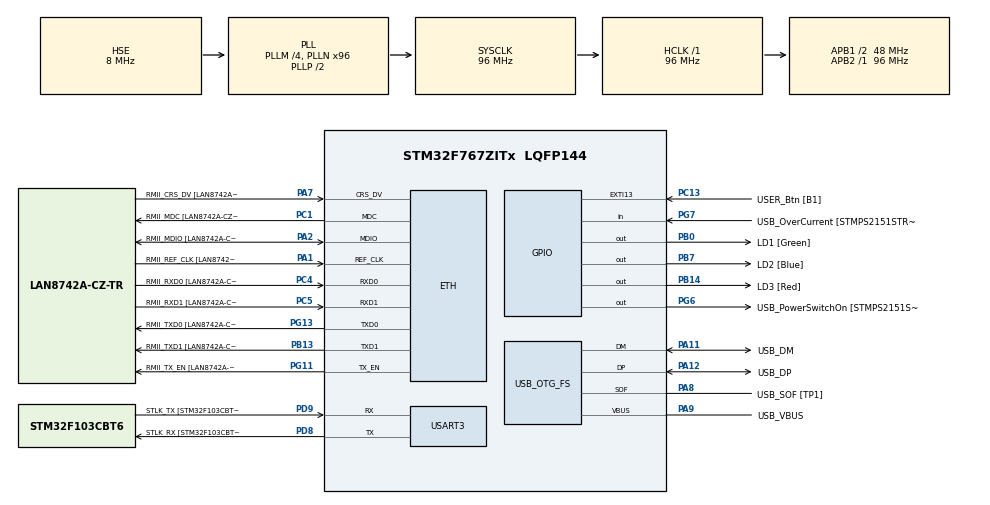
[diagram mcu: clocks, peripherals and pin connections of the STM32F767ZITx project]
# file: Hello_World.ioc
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CORTEX_M7.default_mode_Activation=1
Dma.Request0=USART3_TX
Dma.USART3_TX.0.Direction=DMA_MEMORY_TO_PERIPH
Dma.USART3_TX.0.FIFOMode=DMA_FIFOMODE_DISABLE
Dma.USART3_TX.0.Instance=DMA1_Stream3
Dma.USART3_TX.0.MemDataAlignment=DMA_MDATAALIGN_BYTE
Dma.USART3_TX.0.MemInc=DMA_MINC_ENABLE
Dma.USART3_TX.0.Mode=DMA_NORMAL
Dma.USART3_TX.0.PeriphDataAlignment=DMA_PDATAALIGN_BYTE
Dma.USART3_TX.0.PeriphInc=DMA_PINC_DISABLE
Dma.USART3_TX.0.Priority=DMA_PRIORITY_LOW
ETH.MediaInterface=HAL_ETH_RMII_MODE
ETH.PHY_Name=LAN8742A_PHY_ADDRESS
ETH.PHY_Value=0
ETH.PhyAddress=0
LWIP.BSP.number=1
LWIP.CHECKSUM_BY_HARDWARE=1
LWIP.CHECKSUM_CHECK_ICMP=0
LWIP.CHECKSUM_CHECK_ICMP6=0
LWIP.CHECKSUM_CHECK_IP=0
LWIP.CHECKSUM_CHECK_TCP=0
LWIP.CHECKSUM_CHECK_UDP=0
LWIP.CHECKSUM_GEN_ICMP=0
LWIP.CHECKSUM_GEN_ICMP6=0
LWIP.CHECKSUM_GEN_IP=0
LWIP.CHECKSUM_GEN_TCP=0
LWIP.CHECKSUM_GEN_UDP=0
LWIP.GATEWAY_ADDRESS=192.168.001.001
LWIP.IP_ADDRESS=192.168.001.090
LWIP.LWIP_CHECKSUM_CTRL_PER_NETIF=0
LWIP.LWIP_CHECKSUM_ON_COPY=0
LWIP.LWIP_DHCP=0
LWIP.LWIP_RAW=1
LWIP.NETMASK_ADDRESS=255.255.255.000
LWIP.Version=v2.1.2_Cube
LWIP0.BSP.STBoard=false
LWIP0.BSP.api=BSP_COMPONENT_DRIVER
LWIP0.BSP.component=LAN8742
LWIP0.BSP.instance=LAN8742
LWIP0.BSP.name=Driver_PHY
LWIP0.BSP.semaphore=S_LAN8742
LWIP0.BSP.solution=LAN8742
Mcu.Family=STM32F7
Mcu.Name=STM32F767ZITx
Mcu.Package=LQFP144
NVIC.DMA1_Stream3_IRQn=true\:0\:0\:false\:false\:true\:false\:true\:true
NVIC.PriorityGroup=NVIC_PRIORITYGROUP_4
NVIC.USART3_IRQn=true\:0\:0\:false\:false\:true\:true\:true\:true
PA1.GPIO_Label=RMII_REF_CLK [LAN8742A-CZ-TR_REFCLK0]
PA1.Mode=RMII
PA1.Signal=ETH_REF_CLK
PA10.GPIO_Label=USB_ID
PA10.Signal=USB_OTG_FS_ID
PA11.GPIO_Label=USB_DM
PA11.Mode=Device_Only
PA11.Signal=USB_OTG_FS_DM
PA12.GPIO_Label=USB_DP
PA12.Mode=Device_Only
PA12.Signal=USB_OTG_FS_DP
PA13.GPIO_Label=TMS
PA13.Mode=Serial_Wire
PA13.Signal=SYS_JTMS-SWDIO
PA14.GPIO_Label=TCK
PA14.Mode=Serial_Wire
PA14.Signal=SYS_JTCK-SWCLK
PA2.GPIO_Label=RMII_MDIO [LAN8742A-CZ-TR_MDIO]
PA2.Mode=RMII
PA2.Signal=ETH_MDIO
PA7.GPIO_Label=RMII_CRS_DV [LAN8742A-CZ-TR_CRS_DV]
PA7.Mode=RMII
PA7.Signal=ETH_CRS_DV
PA8.GPIO_Label=USB_SOF [TP1]
PA8.Mode=Activate_SOF_FS
PA8.Signal=USB_OTG_FS_SOF
PA9.GPIO_Label=USB_VBUS
PA9.Mode=Activate_VBUS
PA9.Signal=USB_OTG_FS_VBUS
PB0.GPIO_Label=LD1 [Green]
PB0.Signal=GPIO_Output
PB13.GPIO_Label=RMII_TXD1 [LAN8742A-CZ-TR_TXD1]
PB13.Mode=RMII
PB13.Signal=ETH_TXD1
PB14.GPIO_Label=LD3 [Red]
PB14.Signal=GPIO_Output
PB3.GPIO_Label=SWO
PB3.Signal=SYS_JTDO-SWO
PB7.GPIO_Label=LD2 [Blue]
PB7.Signal=GPIO_Output
PC1.GPIO_Label=RMII_MDC [LAN8742A-CZ-TR_MDC]
PC1.Mode=RMII
PC1.Signal=ETH_MDC
PC13.GPIO_Label=USER_Btn [B1]
PC13.Signal=GPXTI13
PC14/OSC32_IN.Mode=LSE-External-Oscillator
PC14/OSC32_IN.Signal=RCC_OSC32_IN
PC15/OSC32_OUT.Mode=LSE-External-Oscillator
PC15/OSC32_OUT.Signal=RCC_OSC32_OUT
PC4.GPIO_Label=RMII_RXD0 [LAN8742A-CZ-TR_RXD0]
PC4.Mode=RMII
PC4.Signal=ETH_RXD0
PC5.GPIO_Label=RMII_RXD1 [LAN8742A-CZ-TR_RXD1]
PC5.Mode=RMII
PC5.Signal=ETH_RXD1
PD8.GPIO_Label=STLK_RX [STM32F103CBT6_PA3]
PD8.Mode=Asynchronous
PD8.Signal=USART3_TX
PD9.GPIO_Label=STLK_TX [STM32F103CBT6_PA2]
PD9.Mode=Asynchronous
PD9.Signal=USART3_RX
PG11.GPIO_Label=RMII_TX_EN [LAN8742A-CZ-TR_TXEN]
PG11.Mode=RMII
PG11.Signal=ETH_TX_EN
PG13.GPIO_Label=RMII_TXD0 [LAN8742A-CZ-TR_TXD0]
PG13.Mode=RMII
PG13.Signal=ETH_TXD0
PG6.GPIO_Label=USB_PowerSwitchOn [STMPS2151STR_EN]
PG6.Signal=GPIO_Output
PG7.GPIO_Label=USB_OverCurrent [STMPS2151STR_FAULT]
PG7.Signal=GPIO_Input
PH0/OSC_IN.GPIO_Label=MCO [STM32F103CBT6_PA8]
PH0/OSC_IN.Mode=HSE-External-Clock-Source
PH0/OSC_IN.Signal=RCC_OSC_IN
PH1/OSC_OUT.Mode=HSE-External-Clock-Source
PH1/OSC_OUT.Signal=RCC_OSC_OUT
ProjectManager.HeapSize=0x200
ProjectManager.StackSize=0x400
ProjectManager.TargetToolchain=STM32CubeIDE
RCC.48MHZClocksFreq_Value=24000000
RCC.AHBFreq_Value=96000000
RCC.APB1CLKDivider=RCC_HCLK_DIV2
RCC.APB1Freq_Value=48000000
RCC.APB1TimFreq_Value=96000000
RCC.APB2Freq_Value=96000000
RCC.APB2TimFreq_Value=96000000
RCC.CortexFreq_Value=96000000
RCC.HCLKFreq_Value=96000000
RCC.HSE_VALUE=8000000
RCC.HSI_VALUE=16000000
RCC.PLLM=4
RCC.PLLMUL=RCC_PLL_MUL9
RCC.PLLN=96
RCC.PLLQ=4
RCC.PRESCALERUSB=RCC_USBCLKSOURCE_PLL_DIV1_5
RCC.SYSCLKFreq_VALUE=96000000
RCC.SYSCLKSource=RCC_SYSCLKSOURCE_PLLCLK
RCC.SYSCLKSourceVirtual=RCC_SYSCLKSOURCE_PLLCLK
RCC.USBFreq_Value=48000000
RCC.VCOOutputFreq_Value=192000000
USART3.VirtualMode-Asynchronous=VM_ASYNC
USB_OTG_FS.VirtualMode=Device_Only
VP_LWIP_VS_Enabled.Mode=Enabled
board=NUCLEO-F767ZI

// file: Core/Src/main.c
/* USER CODE BEGIN Header */
/**
  ******************************************************************************
  * @file           : main.c
  * @brief          : Main program body
  ******************************************************************************
  * @attention
  *
  * Copyright (c) 2026 STMicroelectronics.
  * All rights reserved.
  *
  * This software is licensed under terms that can be found in the LICENSE file
  * in the root directory of this software component.
  * If no LICENSE file comes with this software, it is provided AS-IS.
  *
  ******************************************************************************
  */
/* USER CODE END Header */
#include "main.h"
#include "lwip.h"

/* USER CODE BEGIN Includes */
#include "ping.h"
/* USER CODE END Includes */

UART_HandleTypeDef huart3;
DMA_HandleTypeDef hdma_usart3_tx;

PCD_HandleTypeDef hpcd_USB_OTG_FS;

void SystemClock_Config(void);
static void MPU_Config(void);
static void MX_GPIO_Init(void);
static void MX_DMA_Init(void);
static void MX_USART3_UART_Init(void);
static void MX_USB_OTG_FS_PCD_Init(void);

/* USER CODE BEGIN 0 */
/* One-byte receive buffer for the interrupt-driven UART RX. */
uint8_t rx_buffer[2];
uint8_t *rx_message = &rx_buffer[0];

/* Command decoded from the UART: set in the RX interrupt, handled in the main loop. */
typedef enum command{
	flag_Idle,
	flag_ON,
	flag_OFF,
	flag_ERROR
} command;

/* it should be declared volatile: "volatile command LED_command = flag_Idle;". Otherwise the
 * compiler may keep it in a register and the main loop could miss the change. */
volatile command LED_command = flag_Idle;
// volatile bool flag_ON,flag_ERROR = false;
/* USER CODE END 0 */

int main(void)
{

  /* MPU Configuration--------------------------------------------------------*/
  MPU_Config();

  /* MCU Configuration--------------------------------------------------------*/

  /* Reset of all peripherals, Initializes the Flash interface and the Systick. */
  HAL_Init();

  /* Configure the system clock */
  SystemClock_Config();

  /* Initialize all configured peripherals */
  MX_GPIO_Init();
  MX_DMA_Init();
  MX_USART3_UART_Init();
  MX_USB_OTG_FS_PCD_Init();
  MX_LWIP_Init();
  /* USER CODE BEGIN 2 */
  /* Must come after MX_LWIP_Init(): it creates a PCB, which needs lwIP running. */
  ping_init();
  /* USER CODE END 2 */

  /* Infinite loop */
  /* USER CODE BEGIN WHILE */
  /* Texts sent back to the PC app over UART3. */
   const uint8_t message_dma[] = "DMA LED1 is OFF\r\n";
   const uint8_t message_OFF[] = "LED is OFF\r\n";
   const uint8_t message_Flag_ON[] = "LED1 is ON\r\n";
   const uint8_t message_Flag_OFF[] = "LED1 is OFF\r\n";
   const uint8_t message_Flag_ERROR[] = "Wrong command!\r\n";

   HAL_StatusTypeDef status;

   /* Arm the first 1-byte UART receive. The RX-complete callback re-arms it after each byte. */
   status = HAL_UART_Receive_IT(&huart3,rx_message, 1);
       if (status == HAL_ERROR) {
   		  Error_Handler();
       }
  while (1)
  {
    /* USER CODE END WHILE */
    /* Keep these two non-blocking and calling often: MX_LWIP_Process() moves received
    *  frames into the stack (and therefore calls ping_recv()) and runs lwIP's timers;
    *  ping_poll() sends the periodic ping and reports timeouts. Long blocking calls
    *  in this loop would delay both. */
    /* USER CODE BEGIN 3 */
	  MX_LWIP_Process();
    ping_poll();

    /* Handle the command decoded by the UART interrupt. Doing the work here and not
     * in the interrupt keeps the interrupt short and never calls lwIP from it. */
    if(LED_command == flag_ON){
    		HAL_UART_Transmit(&huart3,message_Flag_ON, sizeof(message_Flag_ON)-1,10);
    		ping_start();  /* board starts pinging the PC */
    		LED_command = flag_Idle;
    }
    else if (LED_command == flag_OFF){
    /* DMA transmit: returns at once, the hardware sends the bytes in the background. */
		status = HAL_UART_Transmit_DMA(&huart3,message_dma, sizeof(message_dma)-1);
    ping_stop(); /* board stops pinging */
		   if (status == HAL_ERROR) {
			  Error_Handler();
		  }
    		LED_command = flag_Idle;
    }
    if(LED_command == flag_ERROR){
    		HAL_UART_Transmit(&huart3,message_Flag_ERROR, sizeof(message_Flag_ERROR)-1,10);
    		LED_command = flag_Idle;
    }
    }
  /* USER CODE END 3 */
}

void SystemClock_Config(void)
{
  RCC_OscInitTypeDef RCC_OscInitStruct = {0};
  RCC_ClkInitTypeDef RCC_ClkInitStruct = {0};

  /** Configure LSE Drive Capability
  */
  HAL_PWR_EnableBkUpAccess();

  /** Configure the main internal regulator output voltage
  */
  __HAL_RCC_PWR_CLK_ENABLE();
  __HAL_PWR_VOLTAGESCALING_CONFIG(PWR_REGULATOR_VOLTAGE_SCALE3);

  /** Initializes the RCC Oscillators according to the specified parameters
  * in the RCC_OscInitTypeDef structure.
  */
  RCC_OscInitStruct.OscillatorType = RCC_OSCILLATORTYPE_HSE;
  RCC_OscInitStruct.HSEState = RCC_HSE_BYPASS;
  RCC_OscInitStruct.PLL.PLLState = RCC_PLL_ON;
  RCC_OscInitStruct.PLL.PLLSource = RCC_PLLSOURCE_HSE;
  RCC_OscInitStruct.PLL.PLLM = 4;
  RCC_OscInitStruct.PLL.PLLN = 96;
  RCC_OscInitStruct.PLL.PLLP = RCC_PLLP_DIV2;
  RCC_OscInitStruct.PLL.PLLQ = 4;
  RCC_OscInitStruct.PLL.PLLR = 2;
  if (HAL_RCC_OscConfig(&RCC_OscInitStruct) != HAL_OK)
  {
    Error_Handler();
  }

  /** Activate the Over-Drive mode
  */
  if (HAL_PWREx_EnableOverDrive() != HAL_OK)
  {
    Error_Handler();
  }

  /** Initializes the CPU, AHB and APB buses clocks
  */
  RCC_ClkInitStruct.ClockType = RCC_CLOCKTYPE_HCLK|RCC_CLOCKTYPE_SYSCLK
                              |RCC_CLOCKTYPE_PCLK1|RCC_CLOCKTYPE_PCLK2;
  RCC_ClkInitStruct.SYSCLKSource = RCC_SYSCLKSOURCE_PLLCLK;
  RCC_ClkInitStruct.AHBCLKDivider = RCC_SYSCLK_DIV1;
  RCC_ClkInitStruct.APB1CLKDivider = RCC_HCLK_DIV2;
  RCC_ClkInitStruct.APB2CLKDivider = RCC_HCLK_DIV1;

  if (HAL_RCC_ClockConfig(&RCC_ClkInitStruct, FLASH_LATENCY_3) != HAL_OK)
  {
    Error_Handler();
  }
}

static void MX_USART3_UART_Init(void)
{

  huart3.Instance = USART3;
  huart3.Init.BaudRate = 115200;
  huart3.Init.WordLength = UART_WORDLENGTH_8B;
  huart3.Init.StopBits = UART_STOPBITS_1;
  huart3.Init.Parity = UART_PARITY_NONE;
  huart3.Init.Mode = UART_MODE_TX_RX;
  huart3.Init.HwFlowCtl = UART_HWCONTROL_NONE;
  huart3.Init.OverSampling = UART_OVERSAMPLING_16;
  huart3.Init.OneBitSampling = UART_ONE_BIT_SAMPLE_DISABLE;
  huart3.AdvancedInit.AdvFeatureInit = UART_ADVFEATURE_NO_INIT;
  if (HAL_UART_Init(&huart3) != HAL_OK)
  {
    Error_Handler();
  }

}

static void MX_USB_OTG_FS_PCD_Init(void)
{

  hpcd_USB_OTG_FS.Instance = USB_OTG_FS;
  hpcd_USB_OTG_FS.Init.dev_endpoints = 6;
  hpcd_USB_OTG_FS.Init.speed = PCD_SPEED_FULL;
  hpcd_USB_OTG_FS.Init.dma_enable = DISABLE;
  hpcd_USB_OTG_FS.Init.phy_itface = PCD_PHY_EMBEDDED;
  hpcd_USB_OTG_FS.Init.Sof_enable = ENABLE;
  hpcd_USB_OTG_FS.Init.low_power_enable = DISABLE;
  hpcd_USB_OTG_FS.Init.lpm_enable = DISABLE;
  hpcd_USB_OTG_FS.Init.vbus_sensing_enable = ENABLE;
  hpcd_USB_OTG_FS.Init.use_dedicated_ep1 = DISABLE;
  if (HAL_PCD_Init(&hpcd_USB_OTG_FS) != HAL_OK)
  {
    Error_Handler();
  }

}

static void MX_DMA_Init(void)
{

  /* DMA controller clock enable */
  __HAL_RCC_DMA1_CLK_ENABLE();

  /* DMA interrupt init */
  /* DMA1_Stream3_IRQn interrupt configuration */
  HAL_NVIC_SetPriority(DMA1_Stream3_IRQn, 0, 0);
  HAL_NVIC_EnableIRQ(DMA1_Stream3_IRQn);

}

static void MX_GPIO_Init(void)
{
  GPIO_InitTypeDef GPIO_InitStruct = {0};

  /* GPIO Ports Clock Enable */
  __HAL_RCC_GPIOC_CLK_ENABLE();
  __HAL_RCC_GPIOH_CLK_ENABLE();
  __HAL_RCC_GPIOA_CLK_ENABLE();
  __HAL_RCC_GPIOB_CLK_ENABLE();
  __HAL_RCC_GPIOD_CLK_ENABLE();
  __HAL_RCC_GPIOG_CLK_ENABLE();

  /*Configure GPIO pin Output Level */
  HAL_GPIO_WritePin(GPIOB, LD1_Pin|LD3_Pin|LD2_Pin, GPIO_PIN_RESET);

  /*Configure GPIO pin Output Level */
  HAL_GPIO_WritePin(USB_PowerSwitchOn_GPIO_Port, USB_PowerSwitchOn_Pin, GPIO_PIN_RESET);

  /*Configure GPIO pin : USER_Btn_Pin */
  GPIO_InitStruct.Pin = USER_Btn_Pin;
  GPIO_InitStruct.Mode = GPIO_MODE_IT_RISING;
  GPIO_InitStruct.Pull = GPIO_NOPULL;
  HAL_GPIO_Init(USER_Btn_GPIO_Port, &GPIO_InitStruct);

  /*Configure GPIO pins : LD1_Pin LD3_Pin LD2_Pin */
  GPIO_InitStruct.Pin = LD1_Pin|LD3_Pin|LD2_Pin;
  GPIO_InitStruct.Mode = GPIO_MODE_OUTPUT_PP;
  GPIO_InitStruct.Pull = GPIO_NOPULL;
  GPIO_InitStruct.Speed = GPIO_SPEED_FREQ_LOW;
  HAL_GPIO_Init(GPIOB, &GPIO_InitStruct);

  /*Configure GPIO pin : USB_PowerSwitchOn_Pin */
  GPIO_InitStruct.Pin = USB_PowerSwitchOn_Pin;
  GPIO_InitStruct.Mode = GPIO_MODE_OUTPUT_PP;
  GPIO_InitStruct.Pull = GPIO_NOPULL;
  GPIO_InitStruct.Speed = GPIO_SPEED_FREQ_LOW;
  HAL_GPIO_Init(USB_PowerSwitchOn_GPIO_Port, &GPIO_InitStruct);

  /*Configure GPIO pin : USB_OverCurrent_Pin */
  GPIO_InitStruct.Pin = USB_OverCurrent_Pin;
  GPIO_InitStruct.Mode = GPIO_MODE_INPUT;
  GPIO_InitStruct.Pull = GPIO_NOPULL;
  HAL_GPIO_Init(USB_OverCurrent_GPIO_Port, &GPIO_InitStruct);

}

/* USER CODE BEGIN 4 */
void UART_DMATransmitCplt(DMA_HandleTypeDef *hdma){
	HAL_GPIO_TogglePin(GPIOB,LD2_Pin);
}

/* Called by HAL (interrupt/DMA context) when an interrupt or DMA UART transmit
 * finishes. Toggles LD3 as a visual "transmission done" indicator. */
void HAL_UART_TxCpltCallback(UART_HandleTypeDef *huart){
	HAL_GPIO_TogglePin(GPIOB,LD3_Pin);
}

/* Called by HAL from the UART RX interrupt after each received byte.
 * Runs in interrupt context: only set the LED, store the command and re-arm
 * the reception. Anything slow or lwIP-related is left to the main loop. */
void HAL_UART_RxCpltCallback(UART_HandleTypeDef *huart){
	HAL_StatusTypeDef rstatus;
	if(*rx_message == '1'){
		HAL_GPIO_WritePin(GPIOB,LD1_Pin,GPIO_PIN_SET);
		LED_command = flag_ON;
  } else if (*rx_message == '0') {
		HAL_GPIO_WritePin(GPIOB,LD1_Pin,GPIO_PIN_RESET);
		LED_command = flag_OFF;
  } else{
	  LED_command = flag_ERROR;
  }
  rstatus = HAL_UART_Receive_IT(&huart3, rx_message,1);
  if (rstatus == HAL_ERROR) {
	  Error_Handler();
  }
}

/* USER CODE END 4 */

 /* MPU Configuration */

void MPU_Config(void)
{
  MPU_Region_InitTypeDef MPU_InitStruct = {0};

  /* Disables the MPU */
  HAL_MPU_Disable();

  /** Initializes and configures the Region and the memory to be protected
  */
  MPU_InitStruct.Enable = MPU_REGION_ENABLE;
  MPU_InitStruct.Number = MPU_REGION_NUMBER0;
  MPU_InitStruct.BaseAddress = 0x0;
  MPU_InitStruct.Size = MPU_REGION_SIZE_4GB;
  MPU_InitStruct.SubRegionDisable = 0x87;
  MPU_InitStruct.TypeExtField = MPU_TEX_LEVEL0;
  MPU_InitStruct.AccessPermission = MPU_REGION_NO_ACCESS;
  MPU_InitStruct.DisableExec = MPU_INSTRUCTION_ACCESS_DISABLE;
  MPU_InitStruct.IsShareable = MPU_ACCESS_SHAREABLE;
  MPU_InitStruct.IsCacheable = MPU_ACCESS_NOT_CACHEABLE;
  MPU_InitStruct.IsBufferable = MPU_ACCESS_NOT_BUFFERABLE;

  HAL_MPU_ConfigRegion(&MPU_InitStruct);
  /* Enables the MPU */
  HAL_MPU_Enable(MPU_PRIVILEGED_DEFAULT);

}

void Error_Handler(void)
{
  __disable_irq();
  while (1)
  {
  }
}
